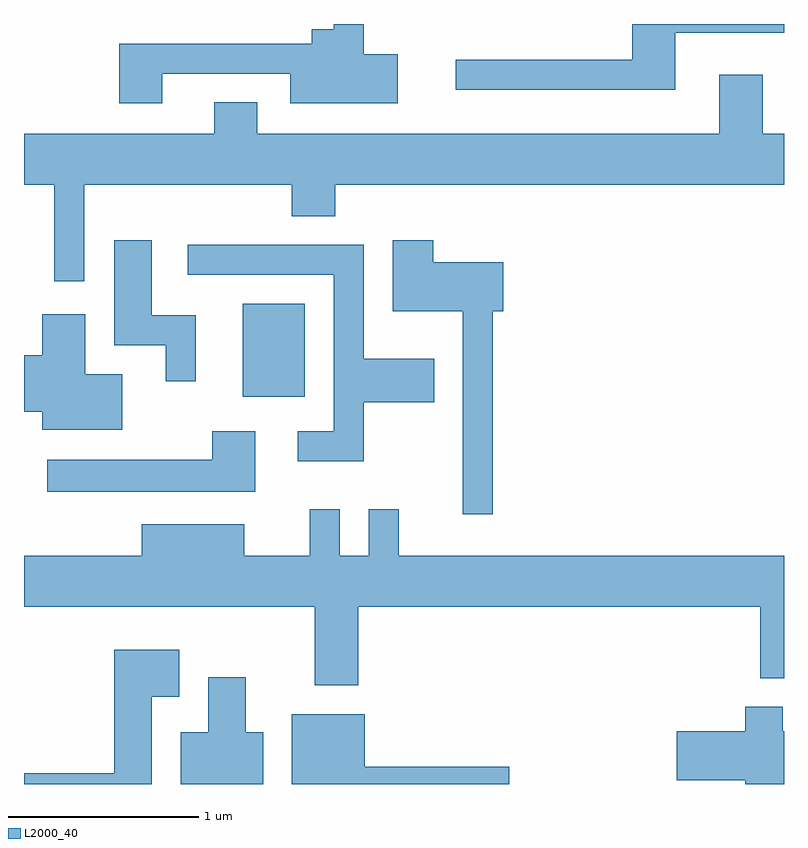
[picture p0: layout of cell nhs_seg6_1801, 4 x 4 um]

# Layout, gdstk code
import gdstk
lib = gdstk.Library(unit=1e-6, precision=1e-09)
def R(c, l, rs):  # rectangles x0, y0, x1, y1
    for r in rs: c.add(gdstk.rectangle(r[:2], r[2:], *l))
def P(c, l, *ps):  # polygons
    for p in ps: c.add(gdstk.Polygon(p, *l))
L2000_40 = (2000, 40)

nhs_seg6_1801 = lib.new_cell('nhs_seg6_1801')
R(nhs_seg6_1801, L2000_40, [(240.761,1602.201,241.089,1602.689)])
P(nhs_seg6_1801, L2000_40, [(243.039,1604.116),(243.611,1604.116),(243.611,1604.162),(242.811,1604.162),(242.811,1603.974),(241.883,1603.974),(241.883,1603.816),(243.039,1603.816)],
  [(240.339,1603.901),(241.011,1603.901),(241.011,1603.746),(241.579,1603.746),(241.579,1604.004),(241.399,1604.004),(241.399,1604.162),(241.241,1604.162),(241.241,1604.134),(241.126,1604.134),(241.126,1604.059),(240.111,1604.059),(240.111,1603.746),(240.339,1603.746)],
  [(239.929,1603.316),(241.021,1603.316),(241.021,1603.151),(241.249,1603.151),(241.249,1603.316),(243.611,1603.316),(243.611,1603.584),(243.499,1603.584),(243.499,1603.894),(243.271,1603.894),(243.271,1603.584),(240.839,1603.584),(240.839,1603.749),(240.611,1603.749),(240.611,1603.584),(239.611,1603.584),(239.611,1603.316),(239.771,1603.316),(239.771,1602.808),(239.929,1602.808)],
  [(242.079,1602.651),(242.134,1602.651),(242.134,1602.909),(241.764,1602.909),(241.764,1603.024),(241.551,1603.024),(241.551,1602.651),(241.921,1602.651),(241.921,1601.583),(242.079,1601.583)],
  [(240.514,1602.629),(240.284,1602.629),(240.284,1603.024),(240.086,1603.024),(240.086,1602.471),(240.356,1602.471),(240.356,1602.283),(240.514,1602.283)],
  [(241.399,1602.171),(241.769,1602.171),(241.769,1602.399),(241.399,1602.399),(241.399,1602.999),(240.473,1602.999),(240.473,1602.841),(241.241,1602.841),(241.241,1602.019),(241.053,1602.019),(241.053,1601.861),(241.399,1601.861)],
  [(240.129,1602.319),(239.934,1602.319),(239.934,1602.634),(239.706,1602.634),(239.706,1602.419),(239.611,1602.419),(239.611,1602.121),(239.706,1602.121),(239.706,1602.026),(240.129,1602.026)],
  [(240.829,1602.019),(240.601,1602.019),(240.601,1601.869),(239.733,1601.869),(239.733,1601.701),(240.829,1601.701)],
  [(241.369,1601.096),(243.486,1601.096),(243.486,1600.718),(243.611,1600.718),(243.611,1601.364),(241.584,1601.364),(241.584,1601.608),(241.426,1601.608),(241.426,1601.364),(241.274,1601.364),(241.274,1601.608),(241.116,1601.608),(241.116,1601.364),(240.769,1601.364),(240.769,1601.529),(240.231,1601.529),(240.231,1601.364),(239.611,1601.364),(239.611,1601.096),(241.141,1601.096),(241.141,1600.681),(241.369,1600.681)],
  [(240.284,1600.621),(240.429,1600.621),(240.429,1600.869),(240.086,1600.869),(240.086,1600.219),(239.611,1600.219),(239.611,1600.162),(240.284,1600.162)],
  [(240.869,1600.434),(240.779,1600.434),(240.779,1600.724),(240.581,1600.724),(240.581,1600.434),(240.436,1600.434),(240.436,1600.162),(240.869,1600.162)],
  [(243.611,1600.439),(243.604,1600.439),(243.604,1600.569),(243.406,1600.569),(243.406,1600.439),(243.046,1600.439),(243.046,1600.181),(243.406,1600.181),(243.406,1600.162),(243.611,1600.162)],
  [(242.164,1600.254),(241.404,1600.254),(241.404,1600.529),(241.021,1600.529),(241.021,1600.162),(242.164,1600.162)])

lib.write_gds('nhs_seg6_1801.gds')
